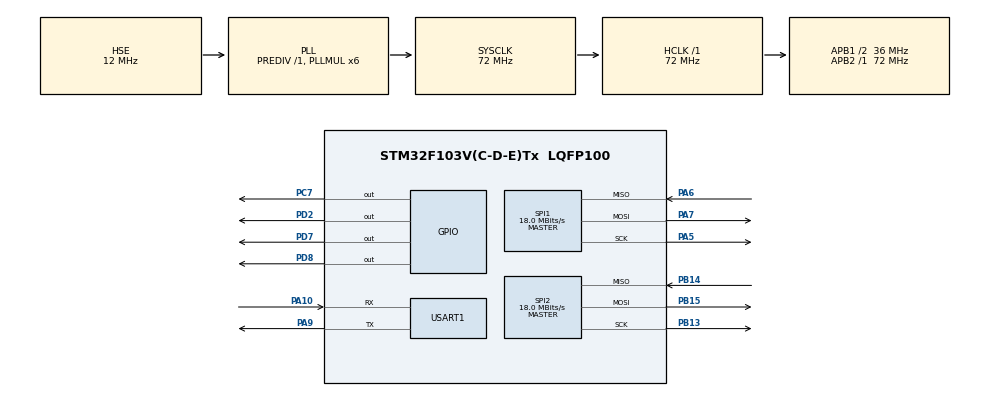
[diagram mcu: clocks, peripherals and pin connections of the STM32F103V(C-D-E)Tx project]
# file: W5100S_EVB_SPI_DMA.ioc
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Dma.Request0=SPI2_RX
Dma.Request1=SPI2_TX
Dma.Request2=SPI1_RX
Dma.Request3=SPI1_TX
Dma.SPI1_RX.2.Direction=DMA_PERIPH_TO_MEMORY
Dma.SPI1_RX.2.Instance=DMA1_Channel2
Dma.SPI1_RX.2.MemDataAlignment=DMA_MDATAALIGN_BYTE
Dma.SPI1_RX.2.MemInc=DMA_MINC_ENABLE
Dma.SPI1_RX.2.Mode=DMA_NORMAL
Dma.SPI1_RX.2.PeriphDataAlignment=DMA_PDATAALIGN_BYTE
Dma.SPI1_RX.2.PeriphInc=DMA_PINC_DISABLE
Dma.SPI1_RX.2.Priority=DMA_PRIORITY_HIGH
Dma.SPI1_TX.3.Direction=DMA_MEMORY_TO_PERIPH
Dma.SPI1_TX.3.Instance=DMA1_Channel3
Dma.SPI1_TX.3.MemDataAlignment=DMA_MDATAALIGN_BYTE
Dma.SPI1_TX.3.MemInc=DMA_MINC_ENABLE
Dma.SPI1_TX.3.Mode=DMA_NORMAL
Dma.SPI1_TX.3.PeriphDataAlignment=DMA_PDATAALIGN_BYTE
Dma.SPI1_TX.3.PeriphInc=DMA_PINC_DISABLE
Dma.SPI1_TX.3.Priority=DMA_PRIORITY_HIGH
Dma.SPI2_RX.0.Direction=DMA_PERIPH_TO_MEMORY
Dma.SPI2_RX.0.Instance=DMA1_Channel4
Dma.SPI2_RX.0.MemDataAlignment=DMA_MDATAALIGN_BYTE
Dma.SPI2_RX.0.MemInc=DMA_MINC_ENABLE
Dma.SPI2_RX.0.Mode=DMA_NORMAL
Dma.SPI2_RX.0.PeriphDataAlignment=DMA_PDATAALIGN_BYTE
Dma.SPI2_RX.0.PeriphInc=DMA_PINC_DISABLE
Dma.SPI2_RX.0.Priority=DMA_PRIORITY_HIGH
Dma.SPI2_TX.1.Direction=DMA_MEMORY_TO_PERIPH
Dma.SPI2_TX.1.Instance=DMA1_Channel5
Dma.SPI2_TX.1.MemDataAlignment=DMA_MDATAALIGN_BYTE
Dma.SPI2_TX.1.MemInc=DMA_MINC_ENABLE
Dma.SPI2_TX.1.Mode=DMA_NORMAL
Dma.SPI2_TX.1.PeriphDataAlignment=DMA_PDATAALIGN_BYTE
Dma.SPI2_TX.1.PeriphInc=DMA_PINC_DISABLE
Dma.SPI2_TX.1.Priority=DMA_PRIORITY_HIGH
Mcu.Family=STM32F1
Mcu.Name=STM32F103V(C-D-E)Tx
Mcu.Package=LQFP100
NVIC.DMA1_Channel2_IRQn=true\:0\:0\:false\:false\:true\:false\:true\:true
NVIC.DMA1_Channel3_IRQn=true\:0\:0\:false\:false\:true\:false\:true\:true
NVIC.DMA1_Channel4_IRQn=true\:0\:0\:false\:false\:true\:false\:true\:true
NVIC.DMA1_Channel5_IRQn=true\:0\:0\:false\:false\:true\:false\:true\:true
NVIC.PriorityGroup=NVIC_PRIORITYGROUP_4
NVIC.SPI1_IRQn=true\:0\:0\:false\:false\:true\:true\:true\:true
NVIC.SPI2_IRQn=true\:0\:0\:false\:false\:true\:true\:true\:true
NVIC.TIM2_IRQn=true\:0\:0\:false\:false\:true\:true\:true\:true
NVIC.USART1_IRQn=true\:1\:0\:true\:false\:true\:true\:true\:true
OSC_IN.Mode=HSE-External-Oscillator
OSC_IN.Signal=RCC_OSC_IN
OSC_OUT.Mode=HSE-External-Oscillator
OSC_OUT.Signal=RCC_OSC_OUT
PA10.Mode=Asynchronous
PA10.Signal=USART1_RX
PA5.Mode=Full_Duplex_Master
PA5.Signal=SPI1_SCK
PA6.Mode=Full_Duplex_Master
PA6.Signal=SPI1_MISO
PA7.Mode=Full_Duplex_Master
PA7.Signal=SPI1_MOSI
PA9.Mode=Asynchronous
PA9.Signal=USART1_TX
PB13.Mode=Full_Duplex_Master
PB13.Signal=SPI2_SCK
PB14.Mode=Full_Duplex_Master
PB14.Signal=SPI2_MISO
PB15.Mode=Full_Duplex_Master
PB15.Signal=SPI2_MOSI
PC13-TAMPER-RTC.Signal=RTC_OUT
PC7.Signal=GPIO_Output
PD2.Signal=GPIO_Output
PD7.Signal=GPIO_Output
PD8.Signal=GPIO_Output
ProjectManager.HeapSize=0x200
ProjectManager.StackSize=0x400
ProjectManager.TargetToolchain=STM32CubeIDE
RCC.AHBFreq_Value=72000000
RCC.APB1CLKDivider=RCC_HCLK_DIV2
RCC.APB1Freq_Value=36000000
RCC.APB1TimFreq_Value=72000000
RCC.APB2Freq_Value=72000000
RCC.APB2TimFreq_Value=72000000
RCC.HCLKFreq_Value=72000000
RCC.HSE_VALUE=12000000
RCC.PLLMUL=RCC_PLL_MUL6
RCC.PLLSourceVirtual=RCC_PLLSOURCE_HSE
RCC.SYSCLKFreq_VALUE=72000000
RCC.SYSCLKSource=RCC_SYSCLKSOURCE_PLLCLK
RCC.USBFreq_Value=72000000
SPI1.BaudRatePrescaler=SPI_BAUDRATEPRESCALER_4
SPI1.CLKPhase=SPI_PHASE_2EDGE
SPI1.CLKPolarity=SPI_POLARITY_HIGH
SPI1.CalculateBaudRate=18.0 MBits/s
SPI1.Direction=SPI_DIRECTION_2LINES
SPI1.Mode=SPI_MODE_MASTER
SPI1.VirtualType=VM_MASTER
SPI2.BaudRatePrescaler=SPI_BAUDRATEPRESCALER_2
SPI2.CLKPhase=SPI_PHASE_2EDGE
SPI2.CLKPolarity=SPI_POLARITY_HIGH
SPI2.CRCCalculation=SPI_CRCCALCULATION_DISABLE
SPI2.CalculateBaudRate=18.0 MBits/s
SPI2.Direction=SPI_DIRECTION_2LINES
SPI2.Mode=SPI_MODE_MASTER
SPI2.VirtualType=VM_MASTER
TIM2.AutoReloadPreload=TIM_AUTORELOAD_PRELOAD_ENABLE
TIM2.Period=10000
TIM2.Prescaler=7200
USART1.VirtualMode=VM_ASYNC
VP_SYS_VS_ND.Mode=No_Debug
VP_TIM2_VS_ClockSourceINT.Mode=Internal
board=custom

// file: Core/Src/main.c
/* USER CODE BEGIN Header */
/**
  ******************************************************************************
  * @file           : main.c
  * @brief          : Main program body
  ******************************************************************************
  * @attention
  *
  * Copyright (c) 2022 STMicroelectronics.
  * All rights reserved.
  *
  * This software is licensed under terms that can be found in the LICENSE file
  * in the root directory of this software component.
  * If no LICENSE file comes with this software, it is provided AS-IS.
  *
  ******************************************************************************
  */
/* USER CODE END Header */
#include "main.h"

/* USER CODE BEGIN Includes */

#include "socket.h"
#include "Internet/DHCP/dhcp.h"
#include "wizchip_conf.h"
#include "W5100S/w5100s.h"

/* USER CODE END Includes */

/* USER CODE BEGIN PTD */

/* DMA */
//#define USE_DMA

/* CHIP SETTING */
#define WIZCHIP1_CS_GPIO_PIN			GPIO_PIN_7
#define WIZCHIP1_CS_GPIO_PORT			GPIOD

#define WIZCHIP1_RESET_W5100S_GPIO_PORT	GPIOD
#define WIZCHIP1_RESET_W5100S_GPIO_PIN		GPIO_PIN_8

#define WIZCHIP2_CS_GPIO_PIN			GPIO_PIN_2
#define WIZCHIP2_CS_GPIO_PORT			GPIOD

#define WIZCHIP2_RESET_W5100S_GPIO_PORT	GPIOC
#define WIZCHIP2_RESET_W5100S_GPIO_PIN		GPIO_PIN_7

/* ETH */
#define ETH_MAX_BUF_SIZE		2048

#define SOCKET_DHCP 1
#define SOCKET_LOOP 2

#define USED_CHIP1 0
#define USED_CHIP2 1

#define PORT_LOOP   5000

/* USER CODE END PTD */

SPI_HandleTypeDef hspi1;
SPI_HandleTypeDef hspi2;
DMA_HandleTypeDef hdma_spi1_rx;
DMA_HandleTypeDef hdma_spi1_tx;
DMA_HandleTypeDef hdma_spi2_rx;
DMA_HandleTypeDef hdma_spi2_tx;

TIM_HandleTypeDef htim2;

UART_HandleTypeDef huart1;

/* USER CODE BEGIN PV */

/* NET */
wiz_NetInfo CHIP1_gWIZNETINFO = {
		.mac = {0x00, 0x08, 0xdc, 0x6f, 0x00, 0x8a},
		.ip = {192, 168, 11, 34},
		.sn = {255, 255, 255, 0},
		.gw = {192, 168, 11, 1},
		.dns = {8, 8, 8, 8},
		.dhcp = NETINFO_STATIC
};

wiz_NetInfo CHIP2_gWIZNETINFO = {
		.mac = {0x00, 0x08, 0xdc, 0x6f, 0x00, 0x12},
		.ip = {192, 168, 11, 44},
		.sn = {255, 255, 255, 0},
		.gw = {192, 168, 11, 1},
		.dns = {8, 8, 8, 8},
		.dhcp = NETINFO_STATIC
};

uint8_t chip1_ethBuf[ETH_MAX_BUF_SIZE];
uint8_t chip2_ethBuf[ETH_MAX_BUF_SIZE];
volatile int used_chip = -1; // 0: 첫 번째 칩, 1: 두 번째 칩
/* DHCP */

/* USER CODE END PV */

void SystemClock_Config(void);
static void MX_GPIO_Init(void);
static void MX_DMA_Init(void);
static void MX_USART1_UART_Init(void);
static void MX_SPI2_Init(void);
static void MX_TIM2_Init(void);
static void MX_SPI1_Init(void);
/* USER CODE BEGIN PFP */

static void csEnable(void);
static void csDisable(void);

void print_network_information();

void select_chip(int chip)
{
    if (chip == USED_CHIP1 || chip == USED_CHIP2)
    {
        used_chip = chip;
    }
    else
    {
        Error_Handler();
    }

    //debug
    if(used_chip == USED_CHIP1)  HAL_GPIO_WritePin(GPIOA, GPIO_PIN_3, GPIO_PIN_RESET);
    if(used_chip == USED_CHIP2)  HAL_GPIO_WritePin(GPIOA, GPIO_PIN_3, GPIO_PIN_SET);
}

/* UART */
int _write(int fd, char *str, int len)
{
	for(int i=0; i<len; i++)
	{
		HAL_UART_Transmit(&huart1, (uint8_t *)&str[i], 1, 0xFFFF);
	}
	return len;
}

/* CHIP INIT */
void wizchip_reset()
{
  if(used_chip == USED_CHIP1){
    HAL_GPIO_WritePin(WIZCHIP1_RESET_W5100S_GPIO_PORT, WIZCHIP1_RESET_W5100S_GPIO_PIN, GPIO_PIN_RESET);
    HAL_Delay(10);
    HAL_GPIO_WritePin(WIZCHIP1_RESET_W5100S_GPIO_PORT, WIZCHIP1_RESET_W5100S_GPIO_PIN, GPIO_PIN_SET);
    HAL_Delay(100);
  }
  else if(used_chip == USED_CHIP2){
    HAL_GPIO_WritePin(WIZCHIP2_RESET_W5100S_GPIO_PORT, WIZCHIP2_RESET_W5100S_GPIO_PIN, GPIO_PIN_RESET);
    HAL_Delay(10);
    HAL_GPIO_WritePin(WIZCHIP2_RESET_W5100S_GPIO_PORT, WIZCHIP2_RESET_W5100S_GPIO_PIN, GPIO_PIN_SET);
    HAL_Delay(100);
  }
  else
  {
      Error_Handler();
  }
}

void wizchip_check(void)
{
    /* Read version register */
    if (getVER() != 0x51) // W5100S
    {
        printf(" ACCESS ERR : VERSIONR != 0x51, read value = 0x%02x\n", getVER());
        while (1);
    }
}

void wizchip_initialize(void)
{
	uint8_t W5100S_AdrSet[2][4]= {{2,2,2,2},{2,2,2,2}};
    uint8_t tmp1, tmp2;
	intr_kind temp= IK_DEST_UNREACH;

	wizchip_reset();
	if (ctlwizchip(CW_INIT_WIZCHIP, (void*)W5100S_AdrSet) == -1)
		printf(">>>>W5100s memory initialization failed\r\n");

	if(ctlwizchip(CW_SET_INTRMASK,&temp) == -1)
		printf("W5100S interrupt\r\n");

    printf("\r\n[Curruent CHIP : %d]\r\n\r\n", used_chip);

	wizchip_check();
    printf("[%d CHIP init Success!!!]\r\n\r\n", used_chip);
	while(1)
	{
		ctlwizchip(CW_GET_PHYLINK, &tmp1 );
		ctlwizchip(CW_GET_PHYLINK, &tmp2 );
		if(tmp1==PHY_LINK_ON && tmp2==PHY_LINK_ON) break;
	}
}

void print_network_information()
{
  wiz_NetInfo Print_gWIZNETINFO;

  if(used_chip == USED_CHIP1){
    wizchip_getnetinfo(&CHIP1_gWIZNETINFO);
    Print_gWIZNETINFO = CHIP1_gWIZNETINFO;
  }
  else if(used_chip == USED_CHIP2){
    wizchip_getnetinfo(&CHIP2_gWIZNETINFO);
    Print_gWIZNETINFO = CHIP2_gWIZNETINFO;
  }

	printf("Mac address: %02x:%02x:%02x:%02x:%02x:%02x\n\r",Print_gWIZNETINFO.mac[0],Print_gWIZNETINFO.mac[1],Print_gWIZNETINFO.mac[2],Print_gWIZNETINFO.mac[3],Print_gWIZNETINFO.mac[4],Print_gWIZNETINFO.mac[5]);
	printf("IP address : %d.%d.%d.%d\n\r",Print_gWIZNETINFO.ip[0],Print_gWIZNETINFO.ip[1],Print_gWIZNETINFO.ip[2],Print_gWIZNETINFO.ip[3]);
	printf("SM Mask	   : %d.%d.%d.%d\n\r",Print_gWIZNETINFO.sn[0],Print_gWIZNETINFO.sn[1],Print_gWIZNETINFO.sn[2],Print_gWIZNETINFO.sn[3]);
	printf("Gate way   : %d.%d.%d.%d\n\r",Print_gWIZNETINFO.gw[0],Print_gWIZNETINFO.gw[1],Print_gWIZNETINFO.gw[2],Print_gWIZNETINFO.gw[3]);
	printf("DNS Server : %d.%d.%d.%d\n\r",Print_gWIZNETINFO.dns[0],Print_gWIZNETINFO.dns[1],Print_gWIZNETINFO.dns[2],Print_gWIZNETINFO.dns[3]);
}

/* SPI */
uint8_t spiReadByte(void)
{
	uint8_t readByte=0;
	uint8_t writeByte=0xFF;

  if(used_chip == USED_CHIP1){
    while(HAL_SPI_GetState(&hspi2)!=HAL_SPI_STATE_READY);
    HAL_SPI_TransmitReceive(&hspi2, &writeByte, &readByte, 1, 10);
  }
  else if(used_chip == USED_CHIP2){
    while(HAL_SPI_GetState(&hspi1)!=HAL_SPI_STATE_READY);
    HAL_SPI_TransmitReceive(&hspi1, &writeByte, &readByte, 1, 10);
  }
  else{
      Error_Handler();
  }
	return readByte;
}

void spiWriteByte(uint8_t writeByte)
{
	uint8_t readByte=0;

  if(used_chip == USED_CHIP1){
  while(HAL_SPI_GetState(&hspi2)!=HAL_SPI_STATE_READY);
	HAL_SPI_TransmitReceive(&hspi2, &writeByte, &readByte, 1, 10);
  }
  else if(used_chip == USED_CHIP2){
	while(HAL_SPI_GetState(&hspi1)!=HAL_SPI_STATE_READY);
	HAL_SPI_TransmitReceive(&hspi1, &writeByte, &readByte, 1, 10);
  }
}

/* SPI DMA */
uint8_t spiDmaReadByte(void)
{
	uint8_t readByte=0;
	uint8_t writeByte=0xFF;

  if(used_chip == USED_CHIP1){
    while(HAL_SPI_GetState(&hspi2) != HAL_SPI_STATE_READY &&
    HAL_DMA_GetState(hspi2.hdmarx) != HAL_DMA_STATE_READY && HAL_DMA_GetState(hspi2.hdmatx) != HAL_DMA_STATE_READY);

    HAL_SPI_Receive_DMA(&hspi2, &readByte, 1);

    while (HAL_DMA_GetState(hspi2.hdmarx) == HAL_DMA_STATE_BUSY|| HAL_DMA_GetState(hspi2.hdmarx) == HAL_DMA_STATE_RESET);
    while (HAL_DMA_GetState(hspi2.hdmatx) == HAL_DMA_STATE_BUSY|| HAL_DMA_GetState(hspi2.hdmatx) == HAL_DMA_STATE_RESET);
  }
  else if(used_chip == USED_CHIP2){
    while(HAL_SPI_GetState(&hspi1) != HAL_SPI_STATE_READY &&
        HAL_DMA_GetState(hspi1.hdmarx) != HAL_DMA_STATE_READY && HAL_DMA_GetState(hspi1.hdmatx) != HAL_DMA_STATE_READY);

    HAL_SPI_Receive_DMA(&hspi1, &readByte, 1);

    while (HAL_DMA_GetState(hspi1.hdmarx) == HAL_DMA_STATE_BUSY|| HAL_DMA_GetState(hspi1.hdmarx) == HAL_DMA_STATE_RESET);
    while (HAL_DMA_GetState(hspi1.hdmatx) == HAL_DMA_STATE_BUSY|| HAL_DMA_GetState(hspi1.hdmatx) == HAL_DMA_STATE_RESET);
  }

	return readByte;

}

void spiDmaWriteByte(uint8_t writeByte)
{
	uint8_t readByte=0;

  if(used_chip == USED_CHIP1){
    while(HAL_SPI_GetState(&hspi2) != HAL_SPI_STATE_READY &&
        HAL_DMA_GetState(hspi2.hdmarx) != HAL_DMA_STATE_READY && HAL_DMA_GetState(hspi2.hdmatx) != HAL_DMA_STATE_READY);

    HAL_SPI_Transmit_DMA(&hspi2, &writeByte, 1);

    while (HAL_DMA_GetState(hspi2.hdmarx) == HAL_DMA_STATE_BUSY|| HAL_DMA_GetState(hspi2.hdmarx) == HAL_DMA_STATE_RESET);
    while (HAL_DMA_GetState(hspi2.hdmatx) == HAL_DMA_STATE_BUSY|| HAL_DMA_GetState(hspi2.hdmatx) == HAL_DMA_STATE_RESET);
  }
  else if(used_chip == USED_CHIP2){
    while(HAL_SPI_GetState(&hspi1) != HAL_SPI_STATE_READY &&
        HAL_DMA_GetState(hspi1.hdmarx) != HAL_DMA_STATE_READY && HAL_DMA_GetState(hspi1.hdmatx) != HAL_DMA_STATE_READY);

    HAL_SPI_Transmit_DMA(&hspi1, &writeByte, 1);

    while (HAL_DMA_GetState(hspi1.hdmarx) == HAL_DMA_STATE_BUSY|| HAL_DMA_GetState(hspi1.hdmarx) == HAL_DMA_STATE_RESET);
    while (HAL_DMA_GetState(hspi1.hdmatx) == HAL_DMA_STATE_BUSY|| HAL_DMA_GetState(hspi1.hdmatx) == HAL_DMA_STATE_RESET);
  }
	return;
}

void spiReadBurst(uint8_t* pBuf, uint16_t len)
{
  if(used_chip == USED_CHIP1){
    while(HAL_SPI_GetState(&hspi2) != HAL_SPI_STATE_READY &&
        HAL_DMA_GetState(hspi2.hdmarx) != HAL_DMA_STATE_READY && HAL_DMA_GetState(hspi2.hdmatx) != HAL_DMA_STATE_READY);

    HAL_SPI_Receive_DMA(&hspi2, pBuf, len);

    while (HAL_DMA_GetState(hspi2.hdmarx) == HAL_DMA_STATE_BUSY|| HAL_DMA_GetState(hspi2.hdmarx) == HAL_DMA_STATE_RESET);
    while (HAL_DMA_GetState(hspi2.hdmatx) == HAL_DMA_STATE_BUSY|| HAL_DMA_GetState(hspi2.hdmatx) == HAL_DMA_STATE_RESET);
  }
  else if(used_chip == USED_CHIP2){
    while(HAL_SPI_GetState(&hspi1) != HAL_SPI_STATE_READY &&
        HAL_DMA_GetState(hspi1.hdmarx) != HAL_DMA_STATE_READY && HAL_DMA_GetState(hspi1.hdmatx) != HAL_DMA_STATE_READY);

    HAL_SPI_Receive_DMA(&hspi1, pBuf, len);

    while (HAL_DMA_GetState(hspi1.hdmarx) == HAL_DMA_STATE_BUSY|| HAL_DMA_GetState(hspi1.hdmarx) == HAL_DMA_STATE_RESET);
    while (HAL_DMA_GetState(hspi1.hdmatx) == HAL_DMA_STATE_BUSY|| HAL_DMA_GetState(hspi1.hdmatx) == HAL_DMA_STATE_RESET);
  }
	return;
}

void spiWriteBurst(uint8_t* pBuf, uint16_t len)
{
  if(used_chip == USED_CHIP1){
    while(HAL_SPI_GetState(&hspi2) != HAL_SPI_STATE_READY &&
        HAL_DMA_GetState(hspi2.hdmarx) != HAL_DMA_STATE_READY && HAL_DMA_GetState(hspi2.hdmatx) != HAL_DMA_STATE_READY);

    HAL_SPI_Transmit_DMA(&hspi2, pBuf, len);

    while (HAL_DMA_GetState(hspi2.hdmarx) == HAL_DMA_STATE_BUSY|| HAL_DMA_GetState(hspi2.hdmarx) == HAL_DMA_STATE_RESET);
    while (HAL_DMA_GetState(hspi2.hdmatx) == HAL_DMA_STATE_BUSY|| HAL_DMA_GetState(hspi2.hdmatx) == HAL_DMA_STATE_RESET);
  }
  else if(used_chip == USED_CHIP2){
    while(HAL_SPI_GetState(&hspi1) != HAL_SPI_STATE_READY &&
        HAL_DMA_GetState(hspi1.hdmarx) != HAL_DMA_STATE_READY && HAL_DMA_GetState(hspi1.hdmatx) != HAL_DMA_STATE_READY);

    HAL_SPI_Transmit_DMA(&hspi1, pBuf, len);

    while (HAL_DMA_GetState(hspi1.hdmarx) == HAL_DMA_STATE_BUSY|| HAL_DMA_GetState(hspi1.hdmarx) == HAL_DMA_STATE_RESET);
    while (HAL_DMA_GetState(hspi1.hdmatx) == HAL_DMA_STATE_BUSY|| HAL_DMA_GetState(hspi1.hdmatx) == HAL_DMA_STATE_RESET);
  }
	return;
}

/* SPI CS CTRL */
void csEnable(void) {

      if(used_chip == USED_CHIP1)       HAL_GPIO_WritePin(WIZCHIP1_CS_GPIO_PORT, WIZCHIP1_CS_GPIO_PIN, GPIO_PIN_RESET);
      else if(used_chip == USED_CHIP2)  HAL_GPIO_WritePin(WIZCHIP2_CS_GPIO_PORT, WIZCHIP2_CS_GPIO_PIN, GPIO_PIN_RESET);

}

// CS 해제 콜백 함수
void csDisable(void) {
        if(used_chip == USED_CHIP1)      HAL_GPIO_WritePin(WIZCHIP1_CS_GPIO_PORT, WIZCHIP1_CS_GPIO_PIN, GPIO_PIN_SET);
        else if(used_chip == USED_CHIP2) HAL_GPIO_WritePin(WIZCHIP2_CS_GPIO_PORT, WIZCHIP2_CS_GPIO_PIN, GPIO_PIN_SET);

}

/* DHCP */
static void wizchip_dhcp_assign(void)
{
  if(used_chip == USED_CHIP1){
    getIPfromDHCP(CHIP1_gWIZNETINFO.ip);
    getGWfromDHCP(CHIP1_gWIZNETINFO.gw);
    getSNfromDHCP(CHIP1_gWIZNETINFO.sn);
    getDNSfromDHCP(CHIP1_gWIZNETINFO.dns);
    CHIP1_gWIZNETINFO.dhcp = NETINFO_DHCP;

    ctlnetwork(CN_SET_NETINFO, &CHIP1_gWIZNETINFO);
  }
  else if(used_chip == USED_CHIP2){
    getIPfromDHCP(CHIP2_gWIZNETINFO.ip);
    getGWfromDHCP(CHIP2_gWIZNETINFO.gw);
    getSNfromDHCP(CHIP2_gWIZNETINFO.sn);
    getDNSfromDHCP(CHIP2_gWIZNETINFO.dns);
    CHIP2_gWIZNETINFO.dhcp = NETINFO_DHCP;

    ctlnetwork(CN_SET_NETINFO, &CHIP2_gWIZNETINFO);
  }
    printf("\r\n----------DHCP Net Information--------------\r\n");
    print_network_information();
}

static void wizchip_dhcp_conflict(void)
{
	printf("wizchip_dhcp_conflict\r\n");
}

void wizchip_dhcp_init(void)
{
  if(used_chip == USED_CHIP1){
    DHCP_init(SOCKET_DHCP, chip1_ethBuf);
    reg_dhcp_cbfunc(wizchip_dhcp_assign, wizchip_dhcp_assign, wizchip_dhcp_conflict);
  }
  else if(used_chip == USED_CHIP2){
    DHCP_init(SOCKET_DHCP, chip2_ethBuf);
    reg_dhcp_cbfunc(wizchip_dhcp_assign, wizchip_dhcp_assign, wizchip_dhcp_conflict);
  }
}
/* USER CODE END PFP */

/* USER CODE BEGIN 0 */
/**
 * @brief  The call back function of ip assign.
 * @note
 * @param  None
 * @retval None
 */

/* USER CODE END 0 */

int main(void)
{

  /* MCU Configuration--------------------------------------------------------*/

  /* Reset of all peripherals, Initializes the Flash interface and the Systick. */
  HAL_Init();

  /* Configure the system clock */
  SystemClock_Config();

  /* Initialize all configured peripherals */
  MX_GPIO_Init();
  MX_DMA_Init();
  MX_USART1_UART_Init();
  MX_SPI2_Init();
  MX_TIM2_Init();
  MX_SPI1_Init();
  /* USER CODE BEGIN 2 */

  printf("\r\n system start (%d Hz)\r\n", HAL_RCC_GetSysClockFreq());

  reg_wizchip_cs_cbfunc(csEnable,csDisable);// CS function register

#ifdef USE_DMA
  reg_wizchip_spi_cbfunc(spiDmaReadByte, spiDmaWriteByte);// SPI method callback registration
  reg_wizchip_spiburst_cbfunc(spiReadBurst, spiWriteBurst);// use DMA
#else
  reg_wizchip_spi_cbfunc(spiReadByte, spiWriteByte);// SPI method callback registration
#endif

  HAL_TIM_Base_Start_IT(&htim2);

  select_chip(USED_CHIP2);
  wizchip_initialize();

  select_chip(USED_CHIP1);
  wizchip_initialize();

  if (CHIP1_gWIZNETINFO.dhcp == NETINFO_DHCP) // DHCP
  {
	  wizchip_dhcp_init();

	  while (DHCP_run() != DHCP_IP_LEASED)
	      wiz_delay_ms(1000);
  }
  else // static
  {
    ctlnetwork(CN_SET_NETINFO, &CHIP1_gWIZNETINFO);
	  printf("\r\n----------STATIC Net Information--------------\r\n");
    print_network_information();
  }

  select_chip(USED_CHIP2);
  if (CHIP2_gWIZNETINFO.dhcp == NETINFO_DHCP){ // DHCP
    wizchip_dhcp_init();

	  while (DHCP_run() != DHCP_IP_LEASED)
	      wiz_delay_ms(1000);
  }
  else // static
  {
    ctlnetwork(CN_SET_NETINFO, &CHIP2_gWIZNETINFO);
	  printf("\r\n----------STATIC Net Information--------------\r\n");
    print_network_information();
  }
  /* USER CODE END 2 */

  /* Infinite loop */
  /* USER CODE BEGIN WHILE */
  while (1)
  {
	  /* Assigned IP through DHCP */
	  if (CHIP1_gWIZNETINFO.dhcp == NETINFO_DHCP)
		  DHCP_run();

    select_chip(USED_CHIP2);
    loopback_tcps(3, chip2_ethBuf, 5001);

    select_chip(USED_CHIP1);
	  loopback_tcps(2, chip1_ethBuf, 5000);

    /* USER CODE END WHILE */

  }
}

void SystemClock_Config(void)
{
  RCC_OscInitTypeDef RCC_OscInitStruct = {0};
  RCC_ClkInitTypeDef RCC_ClkInitStruct = {0};

  /** Initializes the RCC Oscillators according to the specified parameters
  * in the RCC_OscInitTypeDef structure.
  */
  RCC_OscInitStruct.OscillatorType = RCC_OSCILLATORTYPE_HSE;
  RCC_OscInitStruct.HSEState = RCC_HSE_ON;
  RCC_OscInitStruct.HSEPredivValue = RCC_HSE_PREDIV_DIV1;
  RCC_OscInitStruct.HSIState = RCC_HSI_ON;
  RCC_OscInitStruct.PLL.PLLState = RCC_PLL_ON;
  RCC_OscInitStruct.PLL.PLLSource = RCC_PLLSOURCE_HSE;
  RCC_OscInitStruct.PLL.PLLMUL = RCC_PLL_MUL6;
  if (HAL_RCC_OscConfig(&RCC_OscInitStruct) != HAL_OK)
  {
    Error_Handler();
  }

  /** Initializes the CPU, AHB and APB buses clocks
  */
  RCC_ClkInitStruct.ClockType = RCC_CLOCKTYPE_HCLK|RCC_CLOCKTYPE_SYSCLK
                              |RCC_CLOCKTYPE_PCLK1|RCC_CLOCKTYPE_PCLK2;
  RCC_ClkInitStruct.SYSCLKSource = RCC_SYSCLKSOURCE_PLLCLK;
  RCC_ClkInitStruct.AHBCLKDivider = RCC_SYSCLK_DIV1;
  RCC_ClkInitStruct.APB1CLKDivider = RCC_HCLK_DIV2;
  RCC_ClkInitStruct.APB2CLKDivider = RCC_HCLK_DIV1;

  if (HAL_RCC_ClockConfig(&RCC_ClkInitStruct, FLASH_LATENCY_2) != HAL_OK)
  {
    Error_Handler();
  }
}

static void MX_SPI1_Init(void)
{

  /* SPI1 parameter configuration*/
  hspi1.Instance = SPI1;
  hspi1.Init.Mode = SPI_MODE_MASTER;
  hspi1.Init.Direction = SPI_DIRECTION_2LINES;
  hspi1.Init.DataSize = SPI_DATASIZE_8BIT;
  hspi1.Init.CLKPolarity = SPI_POLARITY_HIGH;
  hspi1.Init.CLKPhase = SPI_PHASE_2EDGE;
  hspi1.Init.NSS = SPI_NSS_SOFT;
  hspi1.Init.BaudRatePrescaler = SPI_BAUDRATEPRESCALER_4;
  hspi1.Init.FirstBit = SPI_FIRSTBIT_MSB;
  hspi1.Init.TIMode = SPI_TIMODE_DISABLE;
  hspi1.Init.CRCCalculation = SPI_CRCCALCULATION_DISABLE;
  hspi1.Init.CRCPolynomial = 10;
  if (HAL_SPI_Init(&hspi1) != HAL_OK)
  {
    Error_Handler();
  }

}

static void MX_SPI2_Init(void)
{

  /* SPI2 parameter configuration*/
  hspi2.Instance = SPI2;
  hspi2.Init.Mode = SPI_MODE_MASTER;
  hspi2.Init.Direction = SPI_DIRECTION_2LINES;
  hspi2.Init.DataSize = SPI_DATASIZE_8BIT;
  hspi2.Init.CLKPolarity = SPI_POLARITY_HIGH;
  hspi2.Init.CLKPhase = SPI_PHASE_2EDGE;
  hspi2.Init.NSS = SPI_NSS_SOFT;
  hspi2.Init.BaudRatePrescaler = SPI_BAUDRATEPRESCALER_2;
  hspi2.Init.FirstBit = SPI_FIRSTBIT_MSB;
  hspi2.Init.TIMode = SPI_TIMODE_DISABLE;
  hspi2.Init.CRCCalculation = SPI_CRCCALCULATION_DISABLE;
  hspi2.Init.CRCPolynomial = 10;
  if (HAL_SPI_Init(&hspi2) != HAL_OK)
  {
    Error_Handler();
  }

}

static void MX_TIM2_Init(void)
{

  TIM_ClockConfigTypeDef sClockSourceConfig = {0};
  TIM_MasterConfigTypeDef sMasterConfig = {0};

  htim2.Instance = TIM2;
  htim2.Init.Prescaler = 7200;
  htim2.Init.CounterMode = TIM_COUNTERMODE_UP;
  htim2.Init.Period = 10000;
  htim2.Init.ClockDivision = TIM_CLOCKDIVISION_DIV1;
  htim2.Init.AutoReloadPreload = TIM_AUTORELOAD_PRELOAD_ENABLE;
  if (HAL_TIM_Base_Init(&htim2) != HAL_OK)
  {
    Error_Handler();
  }
  sClockSourceConfig.ClockSource = TIM_CLOCKSOURCE_INTERNAL;
  if (HAL_TIM_ConfigClockSource(&htim2, &sClockSourceConfig) != HAL_OK)
  {
    Error_Handler();
  }
  sMasterConfig.MasterOutputTrigger = TIM_TRGO_RESET;
  sMasterConfig.MasterSlaveMode = TIM_MASTERSLAVEMODE_DISABLE;
  if (HAL_TIMEx_MasterConfigSynchronization(&htim2, &sMasterConfig) != HAL_OK)
  {
    Error_Handler();
  }

}

static void MX_USART1_UART_Init(void)
{

  huart1.Instance = USART1;
  huart1.Init.BaudRate = 115200;
  huart1.Init.WordLength = UART_WORDLENGTH_8B;
  huart1.Init.StopBits = UART_STOPBITS_1;
  huart1.Init.Parity = UART_PARITY_NONE;
  huart1.Init.Mode = UART_MODE_TX_RX;
  huart1.Init.HwFlowCtl = UART_HWCONTROL_NONE;
  huart1.Init.OverSampling = UART_OVERSAMPLING_16;
  if (HAL_UART_Init(&huart1) != HAL_OK)
  {
    Error_Handler();
  }

}

static void MX_DMA_Init(void)
{

  /* DMA controller clock enable */
  __HAL_RCC_DMA1_CLK_ENABLE();

  /* DMA interrupt init */
  /* DMA1_Channel2_IRQn interrupt configuration */
  HAL_NVIC_SetPriority(DMA1_Channel2_IRQn, 0, 0);
  HAL_NVIC_EnableIRQ(DMA1_Channel2_IRQn);
  /* DMA1_Channel3_IRQn interrupt configuration */
  HAL_NVIC_SetPriority(DMA1_Channel3_IRQn, 0, 0);
  HAL_NVIC_EnableIRQ(DMA1_Channel3_IRQn);
  /* DMA1_Channel4_IRQn interrupt configuration */
  HAL_NVIC_SetPriority(DMA1_Channel4_IRQn, 0, 0);
  HAL_NVIC_EnableIRQ(DMA1_Channel4_IRQn);
  /* DMA1_Channel5_IRQn interrupt configuration */
  HAL_NVIC_SetPriority(DMA1_Channel5_IRQn, 0, 0);
  HAL_NVIC_EnableIRQ(DMA1_Channel5_IRQn);

}

static void MX_GPIO_Init(void)
{
  GPIO_InitTypeDef GPIO_InitStruct = {0};

  /* GPIO Ports Clock Enable */
  __HAL_RCC_GPIOC_CLK_ENABLE();
  __HAL_RCC_GPIOA_CLK_ENABLE();
  __HAL_RCC_GPIOB_CLK_ENABLE();
  __HAL_RCC_GPIOD_CLK_ENABLE();

  /*Configure GPIO pin Output Level */
  HAL_GPIO_WritePin(GPIOD, GPIO_PIN_8|GPIO_PIN_2|GPIO_PIN_7, GPIO_PIN_RESET);

  /*Configure GPIO pin Output Level */
  HAL_GPIO_WritePin(GPIOC, GPIO_PIN_7, GPIO_PIN_RESET);

  /*Configure GPIO pins : PD8 PD2 PD7 */
  GPIO_InitStruct.Pin = GPIO_PIN_8|GPIO_PIN_2|GPIO_PIN_7;
  GPIO_InitStruct.Mode = GPIO_MODE_OUTPUT_PP;
  GPIO_InitStruct.Pull = GPIO_NOPULL;
  GPIO_InitStruct.Speed = GPIO_SPEED_FREQ_LOW;
  HAL_GPIO_Init(GPIOD, &GPIO_InitStruct);

  /*Configure GPIO pin : PC7 */
  GPIO_InitStruct.Pin = GPIO_PIN_7;
  GPIO_InitStruct.Mode = GPIO_MODE_OUTPUT_PP;
  GPIO_InitStruct.Pull = GPIO_NOPULL;
  GPIO_InitStruct.Speed = GPIO_SPEED_FREQ_LOW;
  HAL_GPIO_Init(GPIOC, &GPIO_InitStruct);

}

/* USER CODE BEGIN 4 */

void HAL_TIM_PeriodElapsedCallback(TIM_HandleTypeDef *htim)
{
	DHCP_time_handler();
}

/* USER CODE END 4 */

void Error_Handler(void)
{
  __disable_irq();
  while (1)
  {
  }
}
